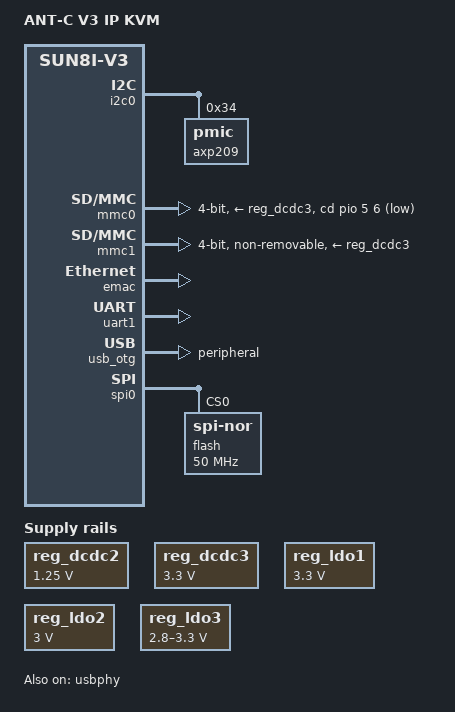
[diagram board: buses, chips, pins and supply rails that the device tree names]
// SPDX-License-Identifier: (GPL-2.0+ OR X11)
/*
 * Copyright 2023 BigfootACA <bigfoot@classfun.cn>
 */

/dts-v1/;

#include "sun8i-v3.dtsi"
#include "sunxi-common-regulators.dtsi"

#include <dt-bindings/gpio/gpio.h>
#include <dt-bindings/input/input.h>

/ {
	model = "ANT-C V3 IP KVM";
	compatible = "ant-c,ipkvm", "allwinner,sun8i-v3";

	aliases {
		serial0 = &uart1;
		ethernet0 = &emac;
	};

	chosen {
		stdout-path = "serial0:115200n8";
	};
};

&i2c0 {
	status = "okay";

	axp209: pmic@34 {
		reg = <0x34>;
		interrupt-parent = <&nmi_intc>;
		interrupts = <0 IRQ_TYPE_LEVEL_LOW>;
	};
};

#include "axp209.dtsi"

&mmc0 {
	cd-gpios = <&pio 5 6 GPIO_ACTIVE_LOW>; /* PF6 */
	bus-width = <4>;
	vmmc-supply = <&reg_dcdc3>;
	status = "okay";
};

&mmc1 {
	non-removable;
	bus-width = <4>;
	vmmc-supply = <&reg_dcdc3>;
	status = "okay";
};

&pio {
	vcc-pd-supply = <&reg_dcdc3>;
	vcc-pe-supply = <&reg_dcdc3>;
};

&emac {
	allwinner,leds-active-low;
	status = "okay";
};

&uart1 {
	pinctrl-0 = <&uart1_pg_pins>;
	pinctrl-names = "default";
	status = "okay";
};

&usb_otg {
	dr_mode = "peripheral";
	status = "okay";
};

&usbphy {
	status = "okay";
};

&spi0 {
	status = "okay";

	flash@0 {
		reg = <0>;
		compatible = "jedec,spi-nor";
		spi-max-frequency = <50000000>;
	};
};

&reg_dcdc2 {
	regulator-always-on;
	regulator-min-microvolt = <1250000>;
	regulator-max-microvolt = <1250000>;
	regulator-name = "vdd-sys-cpu";
};

&reg_dcdc3 {
	regulator-always-on;
	regulator-min-microvolt = <3300000>;
	regulator-max-microvolt = <3300000>;
	regulator-name = "vcc-io";
};

&reg_ldo1 {
	regulator-min-microvolt = <3300000>;
	regulator-max-microvolt = <3300000>;
	regulator-name = "vcc-rtc";
};

&reg_ldo2 {
	regulator-always-on;
	regulator-min-microvolt = <3000000>;
	regulator-max-microvolt = <3000000>;
	regulator-name = "avcc";
};

&reg_ldo3 {
	regulator-always-on;
	regulator-min-microvolt = <2800000>;
	regulator-max-microvolt = <3300000>;
	regulator-name = "vcc-pe-cam";
};
